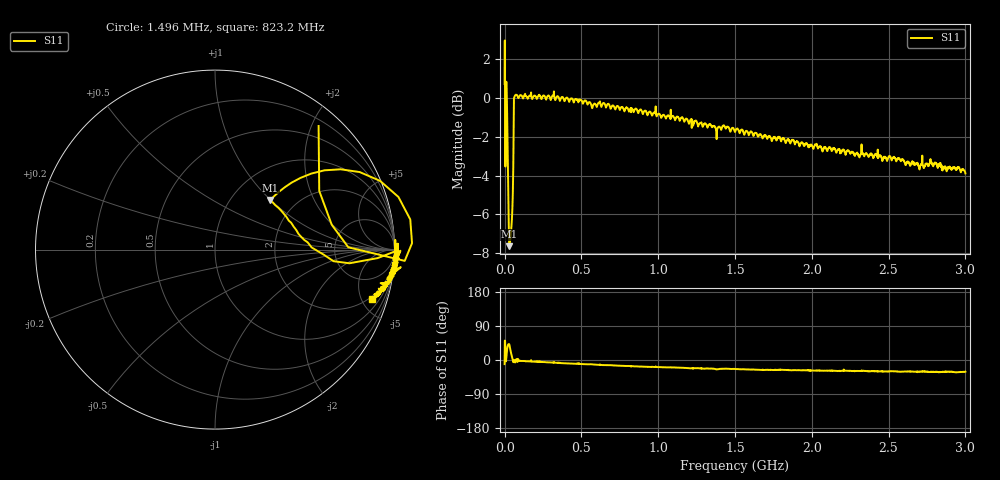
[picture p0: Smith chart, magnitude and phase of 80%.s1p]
# HZ S RI R 50
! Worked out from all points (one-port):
!   2020 points, 10 kHz to 3 GHz, reference 50 ohm
!   lowest |S11| = -7.6 dB at 29.73 MHz (marker M1), VSWR 2.42, Z = 74.7 + j50 ohm
!   |S11| at or under -10 dB: nowhere
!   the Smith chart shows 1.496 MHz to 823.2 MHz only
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10000  1.067 -0.2052
5953516  0.6505 0.1383
1.635467e7  0.8064 0.4319
1.932643e7  0.6103 0.4417
2.378406e7  0.4276 0.3737
2.675582e7  0.3569 0.3224
2.972758e7  0.309 0.2768
3.56711e7  0.3673 0.2186
4.161461e7  0.4244 0.1497
4.458637e7  0.4519 0.11
5.350164e7  0.568 -0.00544
5.944516e7  0.9057 -0.0474
6.984631e7  1.016 -0.00707
7.578983e7  1.018 0.0331
3.759374e8  0.9952 -0.1462
7.503789e8  0.8994 -0.2411
1.126306e9  0.8407 -0.3067
1.346216e9  0.781 -0.3266
1.380392e9  0.7093 -0.3321
1.433883e9  0.7729 -0.3296
1.500748e9  0.7482 -0.3296
1.875189e9  0.6949 -0.3522
2.251117e9  0.631 -0.3422
2.573552e9  0.5953 -0.3567
2.625558e9  0.5929 -0.3436
2.891531e9  0.5693 -0.3379
2.943536e9  0.5528 -0.3489
3e9  0.5482 -0.3284
